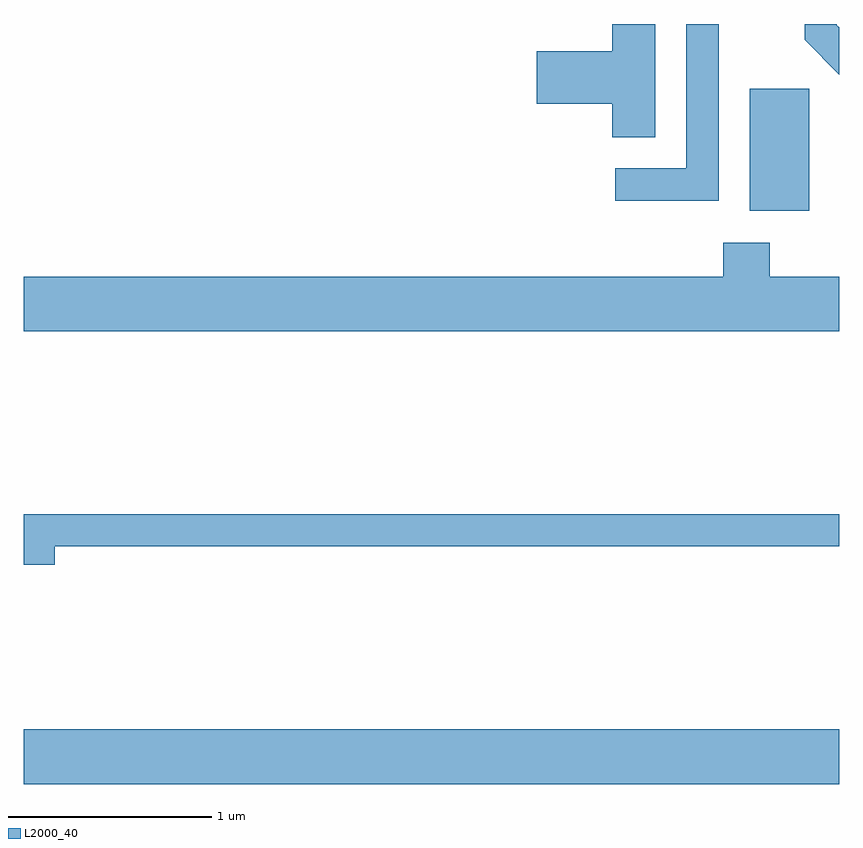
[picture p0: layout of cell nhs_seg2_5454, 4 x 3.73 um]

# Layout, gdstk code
import gdstk
lib = gdstk.Library(unit=1e-6, precision=1e-09)
def R(c, l, rs):  # rectangles x0, y0, x1, y1
    for r in rs: c.add(gdstk.rectangle(r[:2], r[2:], *l))
def P(c, l, *ps):  # polygons
    for p in ps: c.add(gdstk.Polygon(p, *l))
L2000_40 = (2000, 40)

nhs_seg2_5454 = lib.new_cell('nhs_seg2_5454')
R(nhs_seg2_5454, L2000_40, [(345.611,1066.076,349.611,1066.344), (349.171,1068.886,349.464,1069.484)])
P(nhs_seg2_5454, L2000_40, [(348.709,1069.802),(348.496,1069.802),(348.496,1069.669),(348.126,1069.669),(348.126,1069.411),(348.496,1069.411),(348.496,1069.246),(348.709,1069.246)],
  [(349.019,1069.802),(348.861,1069.802),(348.861,1069.094),(348.513,1069.094),(348.513,1068.936),(349.019,1068.936)],
  [(349.611,1069.785),(349.599,1069.797),(349.599,1069.802),(349.441,1069.802),(349.441,1069.724),(349.611,1069.554)],
  [(349.611,1068.564),(349.269,1068.564),(349.269,1068.729),(349.041,1068.729),(349.041,1068.564),(345.611,1068.564),(345.611,1068.296),(349.611,1068.296)],
  [(345.764,1067.241),(349.611,1067.241),(349.611,1067.399),(345.611,1067.399),(345.611,1067.151),(345.764,1067.151)])

lib.write_gds('nhs_seg2_5454.gds')
